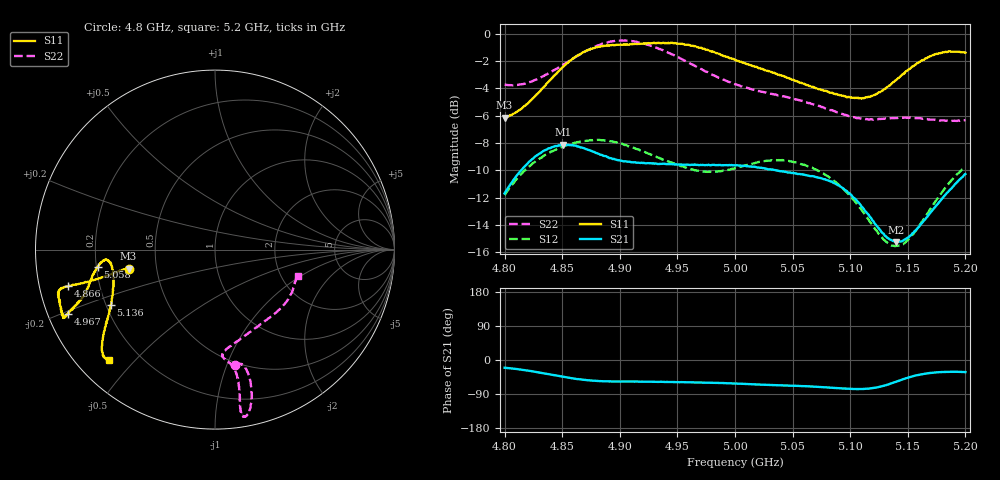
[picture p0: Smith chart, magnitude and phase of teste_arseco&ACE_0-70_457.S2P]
! Network Analyzer HP8722D
! Hewlett-Packard
! Data name: Linha & Wilkinson
! Saver's name: Rodrigo Anjos
! Comments: Teste da utilização de aquisição
! continua pelo VNA HP8722D
! Time and date: 8/5/2025 16:34
!  Frequency  S11  S21  S12  S22
# HZ  S  MA R 50
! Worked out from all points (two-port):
!   401 points, 4.8 GHz to 5.2 GHz, reference 50 ohm
!   highest |S21| = -8.13 dB at 4.851 GHz (marker M1); lowest = -15.3 dB at 5.14 GHz (marker M2)
!   |S21| within 3 dB of the highest: 4.804 GHz to 5.09 GHz (286.2 MHz wide, 5.78 % of centre); 5.189989 GHz to end of sweep
!   lowest |S11| = -6.1 dB at 4.8 GHz (marker M3), VSWR 2.95, Z = 17.2 - j4.84 ohm
!   |S11| at or under -10 dB: nowhere
!   |S22| runs from -6.4 to -0.5 dB; largest |S21 - S12| = 0.62
!   S11 on the Smith chart (normalised r, x): 4.8 GHz: 0.34, -0.10; 4.866 GHz: 0.09, -0.12; 4.967 GHz: 0.06, -0.21; 5.058 GHz: 0.21, -0.07; 5.136 GHz: 0.22, -0.24; 5.2 GHz: 0.09, -0.42
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4.8e9  0.4931 -167.5  0.2603 -20.5  0.2566 -141.7  0.6511 -80.3
4.826e9  0.588 -166.8  0.3537 -30.9  0.3386 -145.7  0.6761 -75.7
4.851e9  0.7589 -165.8  0.3921 -44.6  0.3865 -150.3  0.7717 -75.1
4.866e9  0.8427 -166.0  0.3833 -51.4  0.4029 -152.7  0.8431 -76.0
4.867e9  0.8498 -165.9  0.383 -51.8  0.4036 -152.9  0.8491 -76.0
4.88e9  0.8921 -165.5  0.3654 -55.4  0.4086 -154.8  0.9027 -77.3
4.899e9  0.9111 -163.0  0.3443 -57.0  0.398 -157.2  0.9441 -79.6
4.934e9  0.9255 -156.6  0.3335 -57.8  0.3515 -155.9  0.8795 -81.0
4.967e9  0.8934 -156.5  0.3311 -59.0  0.3153 -148.1  0.7555 -80.0
5e9  0.8025 -159.3  0.3294 -62.1  0.322 -137.6  0.6529 -81.6
5.033e9  0.7199 -165.4  0.318 -66.2  0.3434 -134.9  0.6011 -85.8
5.058e9  0.6598 -171.7  0.3058 -68.8  0.3329 -136.8  0.5681 -84.6
5.067e9  0.6381 -173.4  0.3011 -69.9  0.3232 -137.7  0.5529 -82.6
5.082e9  0.6089 -174.8  0.2892 -72.8  0.2976 -139.1  0.5264 -76.9
5.099e9  0.587 -172.2  0.2613 -76.0  0.2567 -139.5  0.4991 -67.4
5.114e9  0.5853 -165.6  0.2221 -76.1  0.2137 -136.1  0.4872 -56.6
5.134e9  0.6461 -153.3  0.1769 -63.5  0.1695 -119.1  0.4901 -42.9
5.136e9  0.6562 -152.1  0.1754 -61.5  0.1674 -116.6  0.4908 -41.7
5.14e9  0.6773 -150.2  0.1727 -57.3  0.1672 -111.2  0.4915 -39.4
5.152e9  0.7461 -144.9  0.1819 -45.0  0.1791 -95.9  0.4927 -33.1
5.171e9  0.8323 -139.4  0.2247 -33.9  0.2329 -81.5  0.4843 -24.8
5.2e9  0.8522 -133.8  0.3063 -31.8  0.3253 -77.5  0.4823 -17.6
